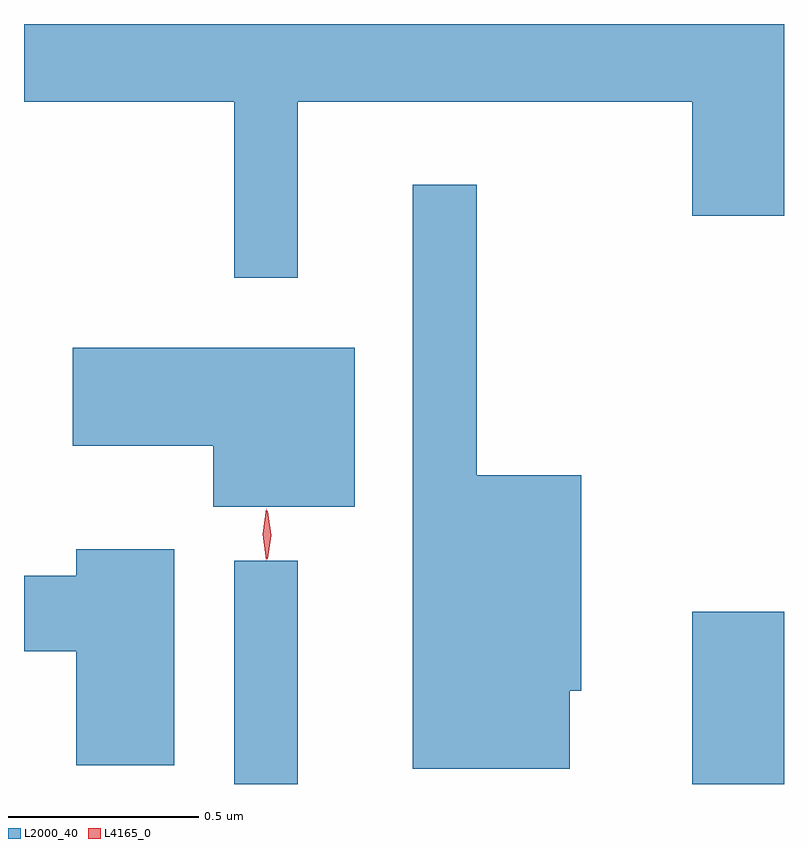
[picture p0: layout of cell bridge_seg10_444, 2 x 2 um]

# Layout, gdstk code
import gdstk
lib = gdstk.Library(unit=1e-6, precision=1e-09)
def R(c, l, rs):  # rectangles x0, y0, x1, y1
    for r in rs: c.add(gdstk.rectangle(r[:2], r[2:], *l))
def P(c, l, *ps):  # polygons
    for p in ps: c.add(gdstk.Polygon(p, *l))
L2000_40 = (2000, 40)
L4165_0 = (4165, 0)

bridge_seg10_444 = lib.new_cell('bridge_seg10_444')
R(bridge_seg10_444, L2000_40, [(1472.611,2087.701,1472.779,2088.288), (1473.816,2087.701,1474.058,2088.154)])
P(bridge_seg10_444, L2000_40, [(1472.779,2089.496),(1473.816,2089.496),(1473.816,2089.196),(1474.058,2089.196),(1474.058,2089.701),(1472.058,2089.701),(1472.058,2089.496),(1472.611,2089.496),(1472.611,2089.033),(1472.779,2089.033)],
  [(1473.494,2087.946),(1473.524,2087.946),(1473.524,2088.514),(1473.249,2088.514),(1473.249,2089.278),(1473.081,2089.278),(1473.081,2087.741),(1473.494,2087.741)],
  [(1472.929,2088.849),(1472.186,2088.849),(1472.186,2088.591),(1472.556,2088.591),(1472.556,2088.431),(1472.929,2088.431)],
  [(1472.454,2088.319),(1472.196,2088.319),(1472.196,2088.249),(1472.058,2088.249),(1472.058,2088.051),(1472.196,2088.051),(1472.196,2087.751),(1472.454,2087.751)])
P(bridge_seg10_444, L4165_0, [(1472.695,2088.29),(1472.686,2088.358),(1472.695,2088.425),(1472.696,2088.426),(1472.696,2088.425),(1472.706,2088.358),(1472.696,2088.29),(1472.696,2088.29)],
  [(1472.698,2088.293),(1472.698,2088.294),(1472.688,2088.356),(1472.698,2088.419),(1472.698,2088.42),(1472.699,2088.419),(1472.708,2088.356),(1472.699,2088.294)])

lib.write_gds('bridge_seg10_444.gds')
